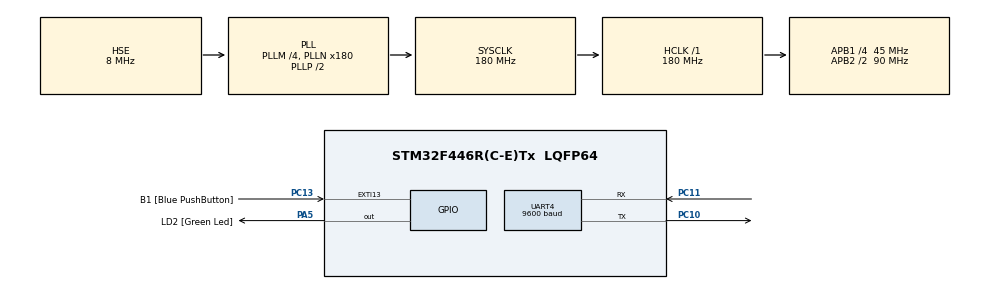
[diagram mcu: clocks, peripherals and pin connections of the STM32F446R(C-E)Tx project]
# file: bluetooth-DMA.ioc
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Dma.Request0=UART4_RX
Dma.UART4_RX.0.Direction=DMA_PERIPH_TO_MEMORY
Dma.UART4_RX.0.FIFOMode=DMA_FIFOMODE_DISABLE
Dma.UART4_RX.0.Instance=DMA1_Stream2
Dma.UART4_RX.0.MemDataAlignment=DMA_MDATAALIGN_BYTE
Dma.UART4_RX.0.MemInc=DMA_MINC_ENABLE
Dma.UART4_RX.0.Mode=DMA_CIRCULAR
Dma.UART4_RX.0.PeriphDataAlignment=DMA_PDATAALIGN_BYTE
Dma.UART4_RX.0.PeriphInc=DMA_PINC_DISABLE
Dma.UART4_RX.0.Priority=DMA_PRIORITY_LOW
Mcu.Family=STM32F4
Mcu.Name=STM32F446R(C-E)Tx
Mcu.Package=LQFP64
NVIC.DMA1_Stream2_IRQn=true\:0\:0\:false\:false\:true\:false
NVIC.PriorityGroup=NVIC_PRIORITYGROUP_0
PA13.GPIO_Label=TMS
PA13.Mode=Serial_Wire
PA13.Signal=SYS_JTMS-SWDIO
PA14.GPIO_Label=TCK
PA14.Mode=Serial_Wire
PA14.Signal=SYS_JTCK-SWCLK
PA5.GPIO_Label=LD2 [Green Led]
PA5.Signal=GPIO_Output
PB3.GPIO_Label=SWO
PB3.Signal=SYS_JTDO-SWO
PC10.Mode=Asynchronous
PC10.Signal=UART4_TX
PC11.Mode=Asynchronous
PC11.Signal=UART4_RX
PC13.GPIO_Label=B1 [Blue PushButton]
PC13.GPIO_ModeDefaultEXTI=GPIO_MODE_IT_FALLING
PC13.Signal=GPXTI13
PC14-OSC32_IN.Signal=RCC_OSC32_IN
PC15-OSC32_OUT.Signal=RCC_OSC32_OUT
PH0-OSC_IN.Mode=HSE-External-Oscillator
PH0-OSC_IN.Signal=RCC_OSC_IN
PH1-OSC_OUT.Mode=HSE-External-Oscillator
PH1-OSC_OUT.Signal=RCC_OSC_OUT
ProjectManager.HeapSize=0x200
ProjectManager.StackSize=0x400
ProjectManager.TargetToolchain=SW4STM32
RCC.48MHZClocksFreq_Value=84000000
RCC.AHBFreq_Value=180000000
RCC.APB1CLKDivider=RCC_HCLK_DIV4
RCC.APB1Freq_Value=45000000
RCC.APB1TimFreq_Value=90000000
RCC.APB2CLKDivider=RCC_HCLK_DIV2
RCC.APB2Freq_Value=90000000
RCC.APB2TimFreq_Value=180000000
RCC.CortexFreq_Value=180000000
RCC.FLatency-AdvancedSettings=FLASH_LATENCY_5
RCC.HCLKFreq_Value=180000000
RCC.HSE_VALUE=8000000
RCC.HSI_VALUE=16000000
RCC.PLLM=4
RCC.PLLN=180
RCC.PLLSourceVirtual=RCC_PLLSOURCE_HSE
RCC.SYSCLKFreq_VALUE=180000000
RCC.SYSCLKSource=RCC_SYSCLKSOURCE_PLLCLK
RCC.USBFreq_Value=180000000
RCC.VCOOutputFreq_Value=360000000
UART4.BaudRate=9600
UART4.VirtualMode=Asynchronous
board=NUCLEO-F446RE

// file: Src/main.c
/**
  ******************************************************************************
  * @file           : main.c
  * @brief          : Main program body
  ******************************************************************************
  ** This notice applies to any and all portions of this file
  * that are not between comment pairs USER CODE BEGIN and
  * USER CODE END. Other portions of this file, whether
  * inserted by the user or by software development tools
  * are owned by their respective copyright owners.
  *
  * COPYRIGHT(c) 2018 STMicroelectronics
  *
  * Redistribution and use in source and binary forms, with or without modification,
  * are permitted provided that the following conditions are met:
  *   1. Redistributions of source code must retain the above copyright notice,
  *      this list of conditions and the following disclaimer.
  *   2. Redistributions in binary form must reproduce the above copyright notice,
  *      this list of conditions and the following disclaimer in the documentation
  *      and/or other materials provided with the distribution.
  *   3. Neither the name of STMicroelectronics nor the names of its contributors
  *      may be used to endorse or promote products derived from this software
  *      without specific prior written permission.
  *
  * THIS SOFTWARE IS PROVIDED BY THE COPYRIGHT HOLDERS AND CONTRIBUTORS "AS IS"
  * AND ANY EXPRESS OR IMPLIED WARRANTIES, INCLUDING, BUT NOT LIMITED TO, THE
  * IMPLIED WARRANTIES OF MERCHANTABILITY AND FITNESS FOR A PARTICULAR PURPOSE ARE
  * DISCLAIMED. IN NO EVENT SHALL THE COPYRIGHT HOLDER OR CONTRIBUTORS BE LIABLE
  * FOR ANY DIRECT, INDIRECT, INCIDENTAL, SPECIAL, EXEMPLARY, OR CONSEQUENTIAL
  * DAMAGES (INCLUDING, BUT NOT LIMITED TO, PROCUREMENT OF SUBSTITUTE GOODS OR
  * SERVICES; LOSS OF USE, DATA, OR PROFITS; OR BUSINESS INTERRUPTION) HOWEVER
  * CAUSED AND ON ANY THEORY OF LIABILITY, WHETHER IN CONTRACT, STRICT LIABILITY,
  * OR TORT (INCLUDING NEGLIGENCE OR OTHERWISE) ARISING IN ANY WAY OUT OF THE USE
  * OF THIS SOFTWARE, EVEN IF ADVISED OF THE POSSIBILITY OF SUCH DAMAGE.
  *
  ******************************************************************************
  */
#include "main.h"
#include "stm32f4xx_hal.h"
#include "dma.h"
#include "usart.h"
#include "gpio.h"

/* USER CODE BEGIN Includes */
#include "lcd.h"
#include "ringbuffer_dma.h"
#include <string.h>

/* USER CODE END Includes */

/* USER CODE BEGIN PV */
/* Private variables ---------------------------------------------------------*/

extern DMA_HandleTypeDef hdma_uart4_rx;
/* Ringbuffer for Rx messages */
RingBuffer_DMA rx_buf;
/* Array for DMA to save Rx bytes */
#define BUF_SIZE 256
uint8_t rx[BUF_SIZE];
uint32_t rx_count = 0;
/* Array for received commands */
char cmd[128];
uint8_t icmd = 0;
/* Array for Tx messages */
uint8_t tx[100];
/* Timestamp variable */
uint32_t lastTick = 0;

/* USER CODE END PV */

void SystemClock_Config(void);

/* USER CODE BEGIN PFP */
/* Private function prototypes -----------------------------------------------*/

void Process_Command(char * command);

/* USER CODE END PFP */

int main(void)
{

  /* MCU Configuration----------------------------------------------------------*/

  /* Reset of all peripherals, Initializes the Flash interface and the Systick. */
  HAL_Init();

  /* Configure the system clock */
  SystemClock_Config();

  /* Initialize all configured peripherals */
  MX_GPIO_Init();
  MX_DMA_Init();
  MX_UART4_Init();
  /* USER CODE BEGIN 2 */

  LCD_Init();

  /* Init RingBuffer_DMA object */
  RingBuffer_DMA_Init(&rx_buf, &hdma_uart4_rx, rx, BUF_SIZE);
  /* Start UART4 DMA Reception */
  HAL_UART_Receive_DMA(&huart4, rx, BUF_SIZE);

  LCD_Printf("loading..\n");
  /* USER CODE END 2 */

  /* Infinite loop */
  while (1)
  {

  /* USER CODE BEGIN 3 */
  /* Check number of bytes in RingBuffer */
	  		rx_count = RingBuffer_DMA_Count(&rx_buf);
	  		/* Proce2		/* Terminate string with \0 */
	  				cmd[icmd] = 0;
	  				icmd = 0;
	  				/* Process command */
	  				LCD_Printf("%s\n", cmd);
	  				Process_Command(cmd);
	  			} else { /* If regular character, put it into cmd[] */
	  				cmd[icmd++] = b;
	  			}
	  		}
	  		/* Send ping message every second */
	  		if (HAL_GetTick() - lastTick > 1000) {
	  			sprintf((char *) tx, "AT\r\n");
	  			HAL_UART_Transmit(&huart4, tx, strlen((char *) tx), 100);
	  			lastTick = HAL_GetTick();
	  		}

  }
  /* USER CODE END 3 */

}

void SystemClock_Config(void)
{

  RCC_OscInitTypeDef RCC_OscInitStruct;
  RCC_ClkInitTypeDef RCC_ClkInitStruct;

    /**Configure the main internal regulator output voltage
    */
  __HAL_RCC_PWR_CLK_ENABLE();

  __HAL_PWR_VOLTAGESCALING_CONFIG(PWR_REGULATOR_VOLTAGE_SCALE1);

    /**Initializes the CPU, AHB and APB busses clocks
    */
  RCC_OscInitStruct.OscillatorType = RCC_OSCILLATORTYPE_HSE;
  RCC_OscInitStruct.HSEState = RCC_HSE_ON;
  RCC_OscInitStruct.PLL.PLLState = RCC_PLL_ON;
  RCC_OscInitStruct.PLL.PLLSource = RCC_PLLSOURCE_HSE;
  RCC_OscInitStruct.PLL.PLLM = 4;
  RCC_OscInitStruct.PLL.PLLN = 180;
  RCC_OscInitStruct.PLL.PLLP = RCC_PLLP_DIV2;
  RCC_OscInitStruct.PLL.PLLQ = 2;
  RCC_OscInitStruct.PLL.PLLR = 2;
  if (HAL_RCC_OscConfig(&RCC_OscInitStruct) != HAL_OK)
  {
    _Error_Handler(__FILE__, __LINE__);
  }

    /**Activate the Over-Drive mode
    */
  if (HAL_PWREx_EnableOverDrive() != HAL_OK)
  {
    _Error_Handler(__FILE__, __LINE__);
  }

    /**Initializes the CPU, AHB and APB busses clocks
    */
  RCC_ClkInitStruct.ClockType = RCC_CLOCKTYPE_HCLK|RCC_CLOCKTYPE_SYSCLK
                              |RCC_CLOCKTYPE_PCLK1|RCC_CLOCKTYPE_PCLK2;
  RCC_ClkInitStruct.SYSCLKSource = RCC_SYSCLKSOURCE_PLLCLK;
  RCC_ClkInitStruct.AHBCLKDivider = RCC_SYSCLK_DIV1;
  RCC_ClkInitStruct.APB1CLKDivider = RCC_HCLK_DIV4;
  RCC_ClkInitStruct.APB2CLKDivider = RCC_HCLK_DIV2;

  if (HAL_RCC_ClockConfig(&RCC_ClkInitStruct, FLASH_LATENCY_5) != HAL_OK)
  {
    _Error_Handler(__FILE__, __LINE__);
  }

    /**Configure the Systick interrupt time
    */
  HAL_SYSTICK_Config(HAL_RCC_GetHCLKFreq()/1000);

    /**Configure the Systick
    */
  HAL_SYSTICK_CLKSourceConfig(SYSTICK_CLKSOURCE_HCLK);

  /* SysTick_IRQn interrupt configuration */
  HAL_NVIC_SetPriority(SysTick_IRQn, 0, 0);
}

/* USER CODE BEGIN 4 */
void Process_Command(char * command) {
	LCD_Printf(command);
	/* Parse commands here and execute them */
}

/* USER CODE END 4 */

void _Error_Handler(char *file, int line)
{
  while(1)
  {
  }
}

/************************ (C) COPYRIGHT STMicroelectronics *****END OF FILE****/
